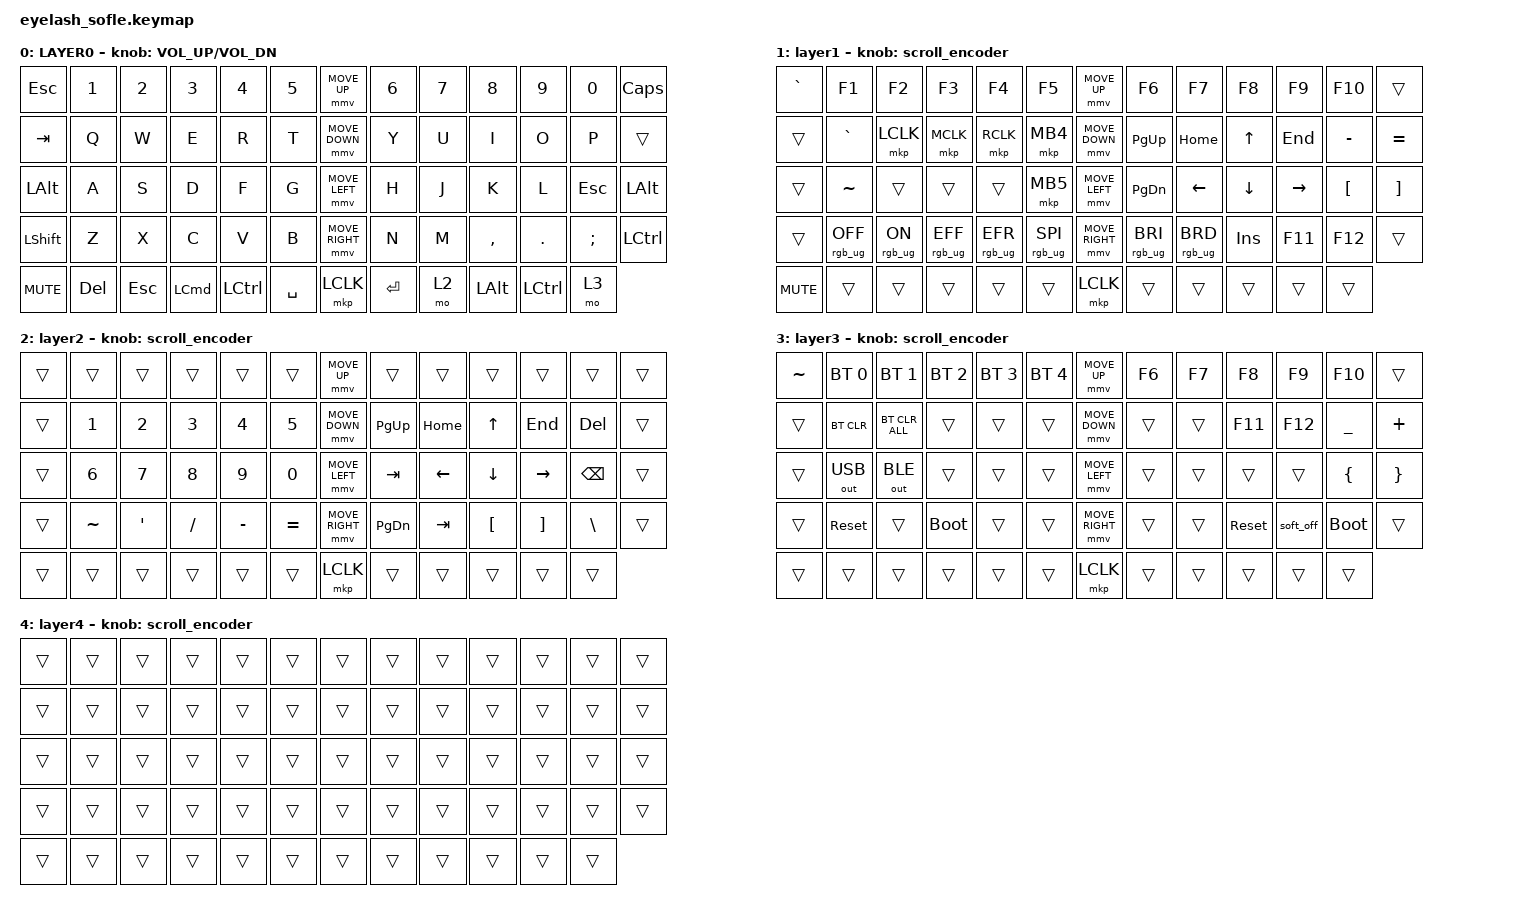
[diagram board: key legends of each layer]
#define ZMK_POINTING_DEFAULT_MOVE_VAL 1200  // 600
#define ZMK_POINTING_DEFAULT_SCRL_VAL 25   // 10

#include <input/processors.dtsi>
#include <zephyr/dt-bindings/input/input-event-codes.h>
#include <behaviors.dtsi>
#include <dt-bindings/zmk/bt.h>
#include <dt-bindings/zmk/keys.h>
#include <dt-bindings/zmk/outputs.h>
#include <dt-bindings/zmk/pointing.h>
#include <dt-bindings/zmk/rgb.h>

&mmv_input_listener { input-processors = <&zip_xy_scaler 2 1>; };

&msc_input_listener { input-processors = <&zip_scroll_scaler 2 1>; };

&msc {
    acceleration-exponent = <1>;      // 0
    time-to-max-speed-ms = <100>;       // 300
    delay-ms = <0>;                   // 0
};

&mmv {
    time-to-max-speed-ms = <500>;
    acceleration-exponent = <1>;
    trigger-period-ms = <16>;
};

&soft_off { hold-time-ms = <2000>; };

/ {
    scroll_encoder: scroll_encoder {
        compatible = "zmk,behavior-sensor-rotate";
        #sensor-binding-cells = <0>;
        bindings = <&msc SCRL_DOWN>, <&msc SCRL_UP>;

        tap-ms = <100>;
    };

    behaviors {
    };

    combos {
        compatible = "zmk,combos";

        softoff {
            bindings = <&soft_off>;
            key-positions = <14 28 40>;
        };
    };

    macros {
        SHIFT_MCLK: SHIFT_MCLK {
            compatible = "zmk,behavior-macro";
            #binding-cells = <0>;
            bindings =
                <&macro_press>,
                <&kp LEFT_SHIFT>,
                <&macro_press>,
                <&mkp MB3>,
                <&macro_pause_for_release>,
                <&macro_release>,
                <&kp LEFT_SHIFT &mkp MB3>;

            label = "SHIFT_MCLK";
        };
    };

    keymap {
        compatible = "zmk,keymap";

        layer0 {
            bindings = <
&kp ESC       &kp N1     &kp N2        &kp N3        &kp N4     &kp N5       &mmv MOVE_UP     &kp N6     &kp N7     &kp N8     &kp N9    &kp N0      &kp CAPS
&kp TAB       &kp Q      &kp W         &kp E         &kp R      &kp T        &mmv MOVE_DOWN   &kp Y      &kp U      &kp I      &kp O     &kp P       &trans
&kp LALT      &kp A      &kp S         &kp D         &kp F      &kp G        &mmv MOVE_LEFT   &kp H      &kp J      &kp K      &kp L     &kp ESC    &kp LALT
&kp LSHIFT    &kp Z      &kp X         &kp C         &kp V      &kp B        &mmv MOVE_RIGHT  &kp N      &kp M      &kp COMMA  &kp DOT   &kp SEMI    &kp LCTRL
&kp C_MUTE    &kp DELETE &kp ESC       &kp LCMD      &kp LCTRL  &kp SPACE    &mkp LCLK        &kp ENTER  &mo 2      &kp LALT   &kp LCTRL &mo 3
            >;

            sensor-bindings = <&inc_dec_kp C_VOLUME_UP C_VOL_DN>;
            display-name = "LAYER0";
        };

        layer_1 {
            bindings = <
&kp GRAVE   &kp F1           &kp F2          &kp F3           &kp F4           &kp F5             &mmv MOVE_UP     &kp F6           &kp F7           &kp F8      &kp F9     &kp F10           &trans
&trans      &kp GRAVE        &mkp LCLK       &mkp MCLK        &mkp RCLK        &mkp MB4           &mmv MOVE_DOWN   &kp PG_UP        &kp HOME         &kp UP      &kp END    &kp MINUS         &kp EQUAL
&trans      &kp TILDE        &trans          &trans           &trans           &mkp MB5           &mmv MOVE_LEFT   &kp PG_DN        &kp LEFT         &kp DOWN    &kp RIGHT  &kp LEFT_BRACKET  &kp RIGHT_BRACKET
&trans      &rgb_ug RGB_OFF  &rgb_ug RGB_ON  &rgb_ug RGB_EFF  &rgb_ug RGB_EFR  &rgb_ug RGB_SPI    &mmv MOVE_RIGHT  &rgb_ug RGB_BRI  &rgb_ug RGB_BRD  &kp INSERT  &kp F11    &kp F12           &trans
&kp C_MUTE  &trans           &trans          &trans           &trans           &trans             &mkp LCLK        &trans           &trans           &trans      &trans     &trans
            >;

            display-name = "layer1";
            sensor-bindings = <&scroll_encoder>;
        };

        layer_2 {
            bindings = <
&trans  &trans     &trans    &trans    &trans     &trans       &mmv MOVE_UP     &trans           &trans      &trans            &trans               &trans            &trans
&trans  &kp N1     &kp N2    &kp N3    &kp N4     &kp N5       &mmv MOVE_DOWN   &kp PG_UP        &kp HOME    &kp UP            &kp END              &kp DELETE        &trans
&trans  &kp N6     &kp N7    &kp N8    &kp N9     &kp N0       &mmv MOVE_LEFT   &kp TAB          &kp LEFT    &kp DOWN          &kp RIGHT            &kp BACKSPACE     &trans
&trans  &kp TILDE  &kp APOS  &kp FSLH  &kp MINUS  &kp EQUAL    &mmv MOVE_RIGHT  &kp PG_DN        &kp TAB     &kp LEFT_BRACKET  &kp RIGHT_BRACKET    &kp BSLH           &trans
&trans  &trans     &trans    &trans    &trans     &trans       &mkp LCLK        &trans           &trans      &trans            &trans               &trans
            >;

            display-name = "layer2";
            sensor-bindings = <&scroll_encoder>;
        };


        layer_3 {
            bindings = <
&kp TILDE  &bt BT_SEL 0  &bt BT_SEL 1    &bt BT_SEL 2  &bt BT_SEL 3  &bt BT_SEL 4    &mmv MOVE_UP     &kp F6  &kp F7  &kp F8      &kp F9     &kp F10      &trans
&trans     &bt BT_CLR    &bt BT_CLR_ALL  &trans        &trans        &trans          &mmv MOVE_DOWN   &trans  &trans  &kp F11     &kp F12    &kp UNDER    &kp PLUS
&trans     &out OUT_USB  &out OUT_BLE    &trans        &trans        &trans          &mmv MOVE_LEFT   &trans  &trans  &trans      &trans     &kp LBRC     &kp RBRC
&trans     &sys_reset    &trans          &bootloader   &trans        &trans          &mmv MOVE_RIGHT  &trans  &trans  &sys_reset  &soft_off  &bootloader  &trans
&trans     &trans        &trans          &trans        &trans        &trans          &mkp LCLK        &trans  &trans  &trans      &trans     &trans
            >;

            display-name = "layer3";
            sensor-bindings = <&scroll_encoder>;
        };

        layer_4 {
            bindings = <
&trans  &trans  &trans  &trans  &trans  &trans    &trans  &trans  &trans  &trans  &trans  &trans  &trans
&trans  &trans  &trans  &trans  &trans  &trans    &trans  &trans  &trans  &trans  &trans  &trans  &trans
&trans  &trans  &trans  &trans  &trans  &trans    &trans  &trans  &trans  &trans  &trans  &trans  &trans
&trans  &trans  &trans  &trans  &trans  &trans    &trans  &trans  &trans  &trans  &trans  &trans  &trans
&trans  &trans  &trans  &trans  &trans  &trans    &trans  &trans  &trans  &trans  &trans  &trans
            >;

            display-name = "layer4";
            sensor-bindings = <&scroll_encoder>;
        };
    };
};
